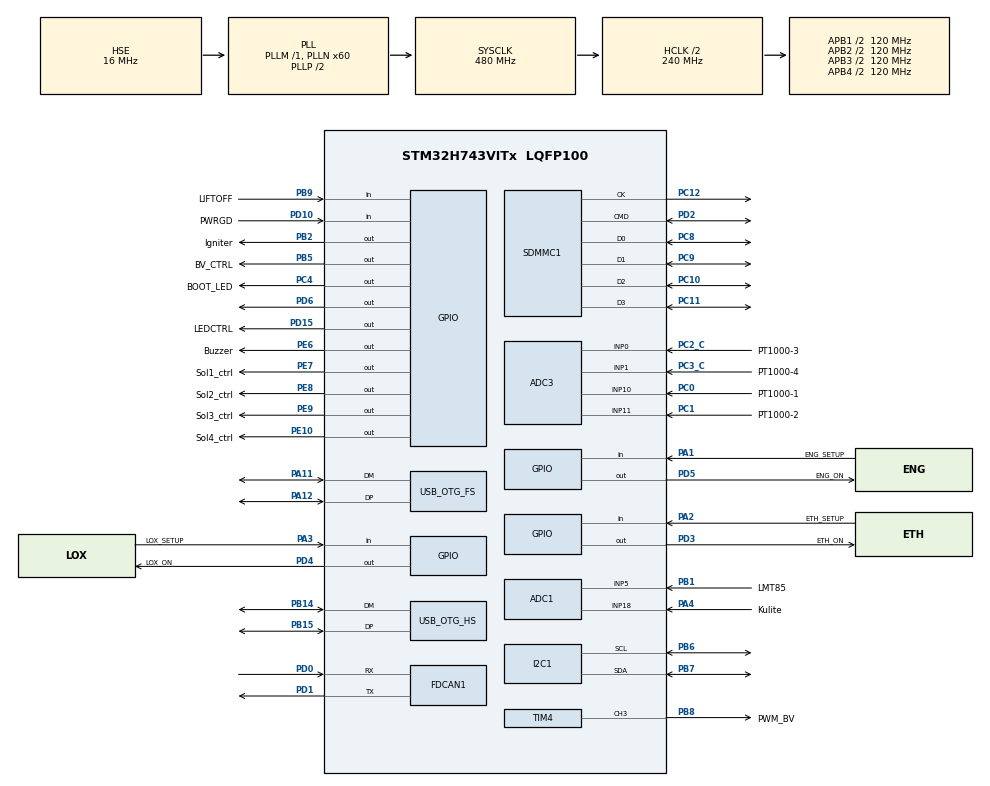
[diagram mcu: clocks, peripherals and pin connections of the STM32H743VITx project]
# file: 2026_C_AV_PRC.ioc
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ADC1.Channel-0\#ChannelRegularConversion=ADC_CHANNEL_5
ADC1.NbrOfConversionFlag=1
ADC1.OffsetNumber-0\#ChannelRegularConversion=ADC_OFFSET_NONE
ADC1.OffsetSignedSaturation-0\#ChannelRegularConversion=DISABLE
ADC1.Rank-0\#ChannelRegularConversion=1
ADC1.SamplingTime-0\#ChannelRegularConversion=ADC_SAMPLETIME_1CYCLE_5
ADC1.master=1
ADC3.Channel-0\#ChannelRegularConversion=ADC_CHANNEL_11
ADC3.NbrOfConversionFlag=1
ADC3.OffsetNumber-0\#ChannelRegularConversion=ADC_OFFSET_NONE
ADC3.OffsetSignedSaturation-0\#ChannelRegularConversion=DISABLE
ADC3.Rank-0\#ChannelRegularConversion=1
ADC3.SamplingTime-0\#ChannelRegularConversion=ADC_SAMPLETIME_1CYCLE_5
CORTEX_M7.default_mode_Activation=1
FDCAN1.AutoRetransmission=ENABLE
FDCAN1.CalculateBaudRateNominal=2000000
FDCAN1.CalculateTimeBitNominal=500
FDCAN1.CalculateTimeQuantumNominal=15.625
FDCAN1.NominalPrescaler=1
FDCAN1.NominalTimeSeg1=23
FDCAN1.NominalTimeSeg2=8
FDCAN1.RxFifo0ElmtsNbr=4
FDCAN1.RxFifo1ElmtSize=FDCAN_DATA_BYTES_8
FDCAN1.RxFifo1ElmtsNbr=4
FDCAN1.StdFiltersNbr=3
FDCAN1.TxBuffersNbr=0
FDCAN1.TxFifoQueueElmtsNbr=32
I2C1.Timing=0x307075B1
Mcu.Family=STM32H7
Mcu.Name=STM32H743VITx
Mcu.Package=LQFP100
NVIC.OTG_FS_IRQn=true\:0\:0\:false\:false\:true\:false\:true\:true
NVIC.OTG_HS_IRQn=true\:0\:0\:false\:false\:true\:false\:true\:true
NVIC.PriorityGroup=NVIC_PRIORITYGROUP_4
PA1.GPIO_Label=ENG_SETUP
PA1.Signal=GPIO_Input
PA11.Mode=Device_Only
PA11.Signal=USB_OTG_FS_DM
PA12.Mode=Device_Only
PA12.Signal=USB_OTG_FS_DP
PA13\ (JTMS/SWDIO).Mode=Trace_Asynchronous_SW
PA13\ (JTMS/SWDIO).Signal=DEBUG_JTMS-SWDIO
PA14\ (JTCK/SWCLK).Mode=Trace_Asynchronous_SW
PA14\ (JTCK/SWCLK).Signal=DEBUG_JTCK-SWCLK
PA2.GPIO_Label=ETH_SETUP
PA2.Signal=GPIO_Input
PA3.GPIO_Label=LOX_SETUP
PA3.Signal=GPIO_Input
PA4.GPIO_Label=Kulite
PA4.Signal=ADCx_INP18
PB1.GPIO_Label=LMT85
PB1.Signal=ADCx_INP5
PB14.Mode=Device_Only_FS
PB14.Signal=USB_OTG_HS_DM
PB15.Mode=Device_Only_FS
PB15.Signal=USB_OTG_HS_DP
PB2.GPIO_Label=Igniter
PB2.Signal=GPIO_Output
PB3\ (JTDO/TRACESWO).Mode=Trace_Asynchronous_SW
PB3\ (JTDO/TRACESWO).Signal=DEBUG_JTDO-SWO
PB5.GPIO_Label=BV_CTRL
PB5.Signal=GPIO_Output
PB6.Mode=I2C
PB6.Signal=I2C1_SCL
PB7.Mode=I2C
PB7.Signal=I2C1_SDA
PB8.GPIO_Label=PWM_BV
PB8.Signal=S_TIM4_CH3
PB9.GPIO_Label=LIFTOFF
PB9.Signal=GPIO_Input
PC0.GPIO_Label=PT1000-1
PC0.Signal=ADCx_INP10
PC1.GPIO_Label=PT1000-2
PC1.Signal=ADCx_INP11
PC10.Mode=SD_4_bits_Wide_bus
PC10.Signal=SDMMC1_D2
PC11.Mode=SD_4_bits_Wide_bus
PC11.Signal=SDMMC1_D3
PC12.Mode=SD_4_bits_Wide_bus
PC12.Signal=SDMMC1_CK
PC2_C.GPIO_Label=PT1000-3
PC2_C.Mode=IN0-Single-Ended
PC2_C.Signal=ADC3_INP0
PC3_C.GPIO_Label=PT1000-4
PC3_C.Mode=IN1-Single-Ended
PC3_C.Signal=ADC3_INP1
PC4.GPIO_Label=BOOT_LED
PC4.Signal=GPIO_Output
PC8.Mode=SD_4_bits_Wide_bus
PC8.Signal=SDMMC1_D0
PC9.Mode=SD_4_bits_Wide_bus
PC9.Signal=SDMMC1_D1
PD0.Mode=FDCAN_Activate
PD0.Signal=FDCAN1_RX
PD1.Mode=FDCAN_Activate
PD1.Signal=FDCAN1_TX
PD10.GPIO_Label=PWRGD
PD10.Signal=GPIO_Input
PD15.GPIO_Label=LEDCTRL
PD15.Signal=GPIO_Output
PD2.Mode=SD_4_bits_Wide_bus
PD2.Signal=SDMMC1_CMD
PD3.GPIO_Label=ETH_ON
PD3.Signal=GPIO_Output
PD4.GPIO_Label=LOX_ON
PD4.Signal=GPIO_Output
PD5.GPIO_Label=ENG_ON
PD5.Signal=GPIO_Output
PD6.PinState=GPIO_PIN_SET
PD6.Signal=GPIO_Output
PE10.GPIO_Label=Sol4_ctrl
PE10.Signal=GPIO_Output
PE6.GPIO_Label=Buzzer
PE6.Signal=GPIO_Output
PE7.GPIO_Label=Sol1_ctrl
PE7.Signal=GPIO_Output
PE8.GPIO_Label=Sol2_ctrl
PE8.Signal=GPIO_Output
PE9.GPIO_Label=Sol3_ctrl
PE9.Signal=GPIO_Output
ProjectManager.HeapSize=0x200
ProjectManager.StackSize=0x400
ProjectManager.TargetToolchain=STM32CubeIDE
RCC.ADCFreq_Value=80000000
RCC.APB1Freq_Value=120000000
RCC.APB2Freq_Value=120000000
RCC.APB3Freq_Value=120000000
RCC.APB4Freq_Value=120000000
RCC.CortexFreq_Value=480000000
RCC.D1PPRE=RCC_APB3_DIV2
RCC.D2PPRE1=RCC_APB1_DIV2
RCC.D2PPRE2=RCC_APB2_DIV2
RCC.D3PPRE=RCC_APB4_DIV2
RCC.DIVM1=1
RCC.DIVM2=1
RCC.DIVN1=60
RCC.DIVN2=10
RCC.DIVQ1=15
RCC.HCLKFreq_Value=240000000
RCC.HPRE=RCC_HCLK_DIV2
RCC.HSE_VALUE=16000000
RCC.HSIDiv=RCC_PLLSAIDIVR_4
RCC.PLL2FRACN=0
RCC.PLL3FRACN=0
RCC.PLLFRACN=0
RCC.SYSCLKFreq_VALUE=480000000
RCC.SYSCLKSource=RCC_SYSCLKSOURCE_PLLCLK
RCC.USBCLockSelection=RCC_USBCLKSOURCE_HSI48
RCC.USBFreq_Value=48000000
SDMMC1.ClockDiv=4
SH.ADCx_INP10.0=ADC3_INP10,IN10-Single-Ended
SH.ADCx_INP11.0=ADC3_INP11,IN11-Single-Ended
SH.ADCx_INP18.0=ADC1_INP18,IN18-Single-Ended
SH.ADCx_INP5.0=ADC1_INP5,IN5-Single-Ended
SH.S_TIM4_CH3.0=TIM4_CH3,PWM Generation3 CH3
TIM4.Channel-PWM\ Generation3\ CH3=TIM_CHANNEL_3
USB_DEVICE.CLASS_NAME_FS=DFU
USB_DEVICE.CLASS_NAME_HS=CDC
USB_DEVICE.VirtualMode-CDC_HS=Cdc
USB_DEVICE.VirtualMode-DFU_FS=Dfu
USB_DEVICE.VirtualModeFS=Dfu_FS
USB_DEVICE.VirtualModeHS=Cdc_HS
USB_OTG_FS.VirtualMode=Device_Only
USB_OTG_HS.VirtualMode-Device_Only_FS=Device_Only_FS
VP_MEMORYMAP_VS_MEMORYMAP.Mode=CurAppReg
VP_USB_DEVICE_VS_USB_DEVICE_CDC_HS.Mode=CDC_HS
VP_USB_DEVICE_VS_USB_DEVICE_DFU_FS.Mode=DFU_FS
board=custom

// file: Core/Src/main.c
/* USER CODE BEGIN Header */
/**
  ******************************************************************************
  * @file           : main.c
  * @brief          : Main program body
  ******************************************************************************
  * @attention
  *
  * Copyright (c) 2026 STMicroelectronics.
  * All rights reserved.
  *
  * This software is licensed under terms that can be found in the LICENSE file
  * in the root directory of this software component.
  * If no LICENSE file comes with this software, it is provided AS-IS.
  *
  ******************************************************************************
  */
/* USER CODE END Header */
#include "main.h"
#include "usb_device.h"

/* USER CODE BEGIN Includes */

#include "../../Drivers/FDC1004/FDC1004_manual_test.h"
#include "../../Drivers/PT1000/main_test_pt1000.h"
#include "../../Drivers/SensataPte7300/SensataPte7300HardwareTest.hpp"
#include "../../Drivers/KULITE_CTL190/kulite_manual_test.hpp"
#include "../../Drivers/LMT85/lmt85_manual_test.hpp"
#include "../../Drivers/Valve/valve_manual_test.hpp"
#include "../../Drivers/Plume/Tests/Hardware/plume_manual_test.h"
#include "../../Application/FlightControl/prc_fsm_c_api.h"
#include "../../Application/FlightControl/prc_can.hpp"
#include "../../Application/app_printf.h"
#include "../../Application/main_app.h"
#include "../../Drivers/Plume/sd_hardware_init.h"
#include "CAN.h"
#include "usbd_cdc_if.h"

/* USER CODE END Includes */

ADC_HandleTypeDef hadc1;
ADC_HandleTypeDef hadc3;

FDCAN_HandleTypeDef hfdcan1;

I2C_HandleTypeDef hi2c1;

SD_HandleTypeDef hsd1;

TIM_HandleTypeDef htim4;

void SystemClock_Config(void);
void PeriphCommonClock_Config(void);
static void MPU_Config(void);
static void MX_GPIO_Init(void);
static void MX_FDCAN1_Init(void);
static void MX_I2C1_Init(void);
static void MX_SDMMC1_SD_Init(void);
static void MX_TIM4_Init(void);
static void MX_ADC3_Init(void);
static void MX_ADC1_Init(void);

/* USER CODE BEGIN 0 */

int _write(int file, char *ptr, int len) {
    // Wait until USB is ready, but never wedge: if the CDC endpoint stays
    // busy (host not draining, missed completion), drop the output instead
    // of spinning forever.

    if (app_printf_is_usb_enabled()) {
      uint32_t start = HAL_GetTick();
      while (CDC_Transmit_HS((uint8_t*)ptr, len) == USBD_BUSY) {
          if (HAL_GetTick() - start > 100) {
              break;
          }
      }
    }

    if (app_printf_is_can_enabled()) {
      // Relay the same bytes over CAN to FC, tagged with this board's role
      // (see Application/FlightControl/prc_can.cpp). Local VCP output above
      // is unaffected either way -- this is purely additive.
      Prc_Log_Forward(&hfdcan1, (const uint8_t*)ptr, (uint32_t)len);
    }

    return len;
}

/* Plain I2C bus scanner, independent of any mux/channel selection -- just
 * sweeps every 7-bit address on the given bus and prints whatever ACKs.
 * Standard scan range 0x03-0x77 (0x00-0x07 and 0x78-0x7F are reserved).
 * Runs forever, one full sweep per iteration, 500 ms between sweeps. */
static void i2c_bus_scan(I2C_HandleTypeDef *hi2c)
{
    app_printf("=== I2C bus scan START (addr range 0x03-0x77) ===\r\n");
    while (1)
    {
        uint8_t foundCount = 0;
        for (uint8_t addr = 0x03; addr <= 0x77; addr++)
        {
            if (HAL_I2C_IsDeviceReady(hi2c, (uint16_t)(addr << 1), 3, 10) == HAL_OK)
            {
                app_printf("[I2C] found device at 0x%02X\r\n", addr);
                foundCount++;
            }
        }
        if (foundCount == 0)
        {
            app_printf("[I2C] no devices found\r\n");
        }
        else
        {
            app_printf("[I2C] scan done, %u device(s) found\r\n", foundCount);
        }
        HAL_Delay(500);
    }
}

/* STM32H743's internal temperature sensor: only available on ADC3 (already
 * used for PT1000), channel ADC_CHANNEL_TEMPSENSOR. Factory calibration
 * words TS_CAL1 (30 C)/TS_CAL2 (110 C), both @ VDDA=3.3V, live at fixed
 * addresses per the datasheet -- this CMSIS package doesn't define the
 * usual TEMPSENSOR_CAL1_ADDR/TEMPSENSOR_CAL2_ADDR macros, so they're
 * hardcoded here (matches UID_BASE 0x1FF1E800 + 0x20 / + 0x40). */
#define TEMPSENSOR_CAL1_ADDR ((uint16_t*)(0x1FF1E820UL))
#define TEMPSENSOR_CAL2_ADDR ((uint16_t*)(0x1FF1E840UL))
#define TEMPSENSOR_CAL1_TEMP (30)
#define TEMPSENSOR_CAL2_TEMP (110)

/* Reads and prints the MCU's internal die temperature via ADC3. Assumes
 * VDDA ~= 3.3V (the calibration reference voltage) -- if VDDA is known to
 * differ meaningfully on this board, scale raw16 by (VDDA_mV/3300) before
 * the calibration formula. */
static void print_mcu_temperature(void)
{
    ADC_ChannelConfTypeDef sConfig = {0};
    sConfig.Channel      = ADC_CHANNEL_TEMPSENSOR;
    sConfig.Rank         = ADC_REGULAR_RANK_1;
    sConfig.SamplingTime = ADC_SAMPLETIME_810CYCLES_5; // temp sensor needs a long sample time
    sConfig.SingleDiff   = ADC_SINGLE_ENDED;
    sConfig.OffsetNumber = ADC_OFFSET_NONE;
    sConfig.Offset       = 0;
    sConfig.OffsetSignedSaturation = DISABLE;

    if (HAL_ADC_ConfigChannel(&hadc3, &sConfig) != HAL_OK)
    {
        app_printf("[TEMP] ConfigChannel failed\r\n");
        return;
    }

    if (HAL_ADC_Start(&hadc3) != HAL_OK)
    {
        app_printf("[TEMP] Start failed\r\n");
        return;
    }

    if (HAL_ADC_PollForConversion(&hadc3, 100) != HAL_OK)
    {
        HAL_ADC_Stop(&hadc3);
        app_printf("[TEMP] PollForConversion failed\r\n");
        return;
    }

    uint32_t raw16 = HAL_ADC_GetValue(&hadc3); // hadc3 is 16-bit resolution, matches TS_CAL width
    HAL_ADC_Stop(&hadc3);

    int32_t temp_c = (((int32_t)raw16 - (int32_t)(*TEMPSENSOR_CAL1_ADDR))
                       * (TEMPSENSOR_CAL2_TEMP - TEMPSENSOR_CAL1_TEMP))
                      / ((int32_t)(*TEMPSENSOR_CAL2_ADDR) - (int32_t)(*TEMPSENSOR_CAL1_ADDR))
                      + TEMPSENSOR_CAL1_TEMP;

    app_printf("[TEMP] MCU internal temperature: %ld C (raw=%lu)\r\n",
           (long)temp_c, (unsigned long)raw16);
}

/* USER CODE END 0 */

int main(void)
{

  /* USER CODE BEGIN 1 */
	// HAL_GPIO_TogglePin(GPIOC, GPIO_PIN_4);

  /* USER CODE END 1 */

  /* MPU Configuration--------------------------------------------------------*/
  MPU_Config();

  /* MCU Configuration--------------------------------------------------------*/

  SCB_EnableICache();
  SCB_EnableDCache();

  /* Reset of all peripherals, Initializes the Flash interface and the Systick. */
  HAL_Init();

  /* Configure the system clock */
  SystemClock_Config();

  /* Configure the peripherals common clocks */
  PeriphCommonClock_Config();

  /* Initialize all configured peripherals */
  MX_GPIO_Init();
  MX_FDCAN1_Init();
  MX_I2C1_Init();
  MX_SDMMC1_SD_Init();
  MX_TIM4_Init();
  MX_USB_DEVICE_Init();
  MX_ADC3_Init();
  MX_ADC1_Init();
  /* USER CODE BEGIN 2 */

  //manual_test_pt1000();  /* loops forever -- never returns, everything below this line won't run while active */

  //run_pte7300_i2c_scanner();
  //i2c_bus_scan(&hi2c1);
  //run_pte7300_channel0_scope_probe();
  //manual_test_ctl190();  /* loops forever -- never returns, everything below this line won't run while active */
  //manual_test_lmt85();  /* loops forever -- never returns, everything below this line won't run while active */
  //Valve_ManualTest();
  HAL_GPIO_TogglePin(GPIOC, GPIO_PIN_4);

  // reset mux
  HAL_GPIO_WritePin(GPIOD, GPIO_PIN_6, GPIO_PIN_RESET);
  HAL_Delay(1000);
  HAL_GPIO_WritePin(GPIOD, GPIO_PIN_6, GPIO_PIN_SET);

  main_init();
  // i2c_bus_scan(&hi2c1);

  /* Reset cause. Printed here (after Prc_Fsm_Init()'s buzzer delays), not
   * right after MX_USB_DEVICE_Init(), because USB CDC hasn't finished
   * enumerating with the host that early -- _write() silently drops
   * anything sent before the host's endpoint is ready. RCC->RSR itself
   * isn't touched by anything in between, so reading it late is safe;
   * RMVF is never written, so flags accumulate across resets until an
   * actual power-on reset clears them. */
  // app_printf("[RESET] RCC->RSR=0x%08lX%s%s%s%s%s%s%s%s%s\r\n",
  //        (unsigned long)RCC->RSR,
  //        (RCC->RSR & RCC_RSR_PORRSTF)   ? " POR"   : "",
  //        (RCC->RSR & RCC_RSR_PINRSTF)   ? " PIN"   : "",
  //        (RCC->RSR & RCC_RSR_BORRSTF)   ? " BOR"   : "",
  //        (RCC->RSR & RCC_RSR_SFTRSTF)   ? " SFT"   : "",
  //        (RCC->RSR & RCC_RSR_IWDG1RSTF) ? " IWDG1" : "",
  //        (RCC->RSR & RCC_RSR_WWDG1RSTF) ? " WWDG1" : "",
  //        (RCC->RSR & RCC_RSR_LPWRRSTF)  ? " LPWR"  : "",
  //        (RCC->RSR & RCC_RSR_D1RSTF)    ? " D1"    : "",
  //        (RCC->RSR & RCC_RSR_D2RSTF)    ? " D2"    : "");

  /* USER CODE END 2 */

  /* Infinite loop */
  /* USER CODE BEGIN WHILE */

  HAL_Delay(1000);

  static uint32_t lastPeriodicTick = 0;
  static uint32_t lastTelemetryTick = 0;
  while (1)
  {
    /* USER CODE END WHILE */

    /* USER CODE BEGIN 3 */
	  main_tick();
	  Prc_Fsm_Tick();

	  /*  Real CAN command decode, per Core/Inc/CAN.h's dictionary. Drains
	   *  the FIFO every iteration, unthrottled -- no HAL_Delay()/throttling
	   *  between reads, same reasoning as the LED slow-path split below (a
	   *  throttled decode would leave commands sitting in the FIFO for up
	   *  to 1s). See Application/FlightControl/prc_can.cpp for the actual
	   *  per-message decode/validation. */
	  if (HAL_FDCAN_GetRxFifoFillLevel(&hfdcan1, FDCAN_RX_FIFO0) > 0)
	  {
	    FDCAN_RxHeaderTypeDef rxHeader;
	    uint8_t rxData[8] = {0};
	    if (HAL_FDCAN_GetRxMessage(&hfdcan1, FDCAN_RX_FIFO0, &rxHeader, rxData) == HAL_OK)
	    {
	      /* FDCAN_DLC_BYTES_0..8 (the only codes possible here -- classic
	       * frames, RxFifo0ElmtSize = FDCAN_DATA_BYTES_8) are numerically
	       * equal to the byte count, so DataLength can be used directly;
	       * no HAL conversion macro exists for it in this HAL version. */
	      Prc_Can_ProcessRxMessage(rxHeader.Identifier, rxData, rxHeader.DataLength);
	    }
	  }

	  /*  FIFO1 holds only the other PRC boards' heartbeats (filter index 2,
	   *  see Prc_Can_ConfigNodeFilter). Same polling and decode as FIFO0, but
	   *  drained completely every iteration: each frame takes a few us. */
	  while (HAL_FDCAN_GetRxFifoFillLevel(&hfdcan1, FDCAN_RX_FIFO1) > 0)
	  {
	    FDCAN_RxHeaderTypeDef rxHeader;
	    uint8_t rxData[8] = {0};
	    if (HAL_FDCAN_GetRxMessage(&hfdcan1, FDCAN_RX_FIFO1, &rxHeader, rxData) != HAL_OK)
	    {
	      break;
	    }
	    Prc_Can_ProcessRxMessage(rxHeader.Identifier, rxData, rxHeader.DataLength);
	  }

	  /*  FIFO0 full / FIFO1 lost counters, printed when they grow (1 Hz max). */
	  Prc_Can_CheckRxFifos(&hfdcan1);

	  if (HAL_GetTick() - lastTelemetryTick >= 50)
	  {
	    lastTelemetryTick = HAL_GetTick();
	    Prc_Can_SendTelemetry(&hfdcan1);
	  }

	  // Slow path: LED blink + sensor print, throttled to a human-readable
	  // interval via HAL_GetTick() instead of a blocking HAL_Delay(), which
	  // would otherwise stall CAN RX (above) for the same duration.
	  if (HAL_GetTick() - lastPeriodicTick >= 1000)
	  {
	    lastPeriodicTick = HAL_GetTick();

	    // Blink each "_ON" indicator LED only while its matching setup jumper
	    // reads active. Assumed active-high (jumper pulls the input to 3V3) --
	    // if the LEDs never light, the jumpers are probably wired active-low:
	    // flip these to "== GPIO_PIN_RESET".
	    if (HAL_GPIO_ReadPin(ENG_SETUP_GPIO_Port, ENG_SETUP_Pin) == GPIO_PIN_SET) {
	      HAL_GPIO_TogglePin(ENG_ON_GPIO_Port, ENG_ON_Pin);
	    } else {
	      HAL_GPIO_WritePin(ENG_ON_GPIO_Port, ENG_ON_Pin, GPIO_PIN_RESET);
	    }
	    if (HAL_GPIO_ReadPin(LOX_SETUP_GPIO_Port, LOX_SETUP_Pin) == GPIO_PIN_SET) {
	      HAL_GPIO_TogglePin(LOX_ON_GPIO_Port, LOX_ON_Pin);
	    } else {
	      HAL_GPIO_WritePin(LOX_ON_GPIO_Port, LOX_ON_Pin, GPIO_PIN_RESET);
	    }
	    if (HAL_GPIO_ReadPin(ETH_SETUP_GPIO_Port, ETH_SETUP_Pin) == GPIO_PIN_SET) {
	      HAL_GPIO_TogglePin(ETH_ON_GPIO_Port, ETH_ON_Pin);
	    } else {
	      HAL_GPIO_WritePin(ETH_ON_GPIO_Port, ETH_ON_Pin, GPIO_PIN_RESET);
	    }

	    //run_pte7300_hardware_test();
	    //pte7300_print_data();
	    //FDC1004_ManualTest(&hi2c1);
	    //print_mcu_temperature();

	    //Valve_ManualTest();    /* TODO: verify Sol1-4/BV_CTRL wiring & NC/NO assumptions before running, see Drivers/Valve/Impl/ValveList.cpp */
	  }
  }
  /* USER CODE END 3 */
}

void SystemClock_Config(void)
{
  RCC_OscInitTypeDef RCC_OscInitStruct = {0};
  RCC_ClkInitTypeDef RCC_ClkInitStruct = {0};

  /** Supply configuration update enable
  */
  HAL_PWREx_ConfigSupply(PWR_LDO_SUPPLY);

  /** Configure the main internal regulator output voltage
  */
  __HAL_PWR_VOLTAGESCALING_CONFIG(PWR_REGULATOR_VOLTAGE_SCALE0);

  while(!__HAL_PWR_GET_FLAG(PWR_FLAG_VOSRDY)) {}

  /** Initializes the RCC Oscillators according to the specified parameters
  * in the RCC_OscInitTypeDef structure.
  */
#ifndef USE_INTERNAL_CLOCK
  RCC_OscInitStruct.OscillatorType = RCC_OSCILLATORTYPE_HSI48|RCC_OSCILLATORTYPE_HSE;
  RCC_OscInitStruct.HSEState = RCC_HSE_ON;
  RCC_OscInitStruct.HSI48State = RCC_HSI48_ON;
  RCC_OscInitStruct.PLL.PLLState = RCC_PLL_ON;
  RCC_OscInitStruct.PLL.PLLSource = RCC_PLLSOURCE_HSE;
#else
  RCC_OscInitStruct.OscillatorType = RCC_OSCILLATORTYPE_HSI48|RCC_OSCILLATORTYPE_HSI;
  RCC_OscInitStruct.HSIState = RCC_HSI_DIV4;
  RCC_OscInitStruct.HSICalibrationValue = RCC_HSICALIBRATION_DEFAULT;
  RCC_OscInitStruct.HSI48State = RCC_HSI48_ON;
  RCC_OscInitStruct.PLL.PLLState = RCC_PLL_ON;
  RCC_OscInitStruct.PLL.PLLSource = RCC_PLLSOURCE_HSI;
#endif
  RCC_OscInitStruct.PLL.PLLM = 1;
  RCC_OscInitStruct.PLL.PLLN = 60;
  RCC_OscInitStruct.PLL.PLLP = 2;
  RCC_OscInitStruct.PLL.PLLQ = 15;
  RCC_OscInitStruct.PLL.PLLR = 2;
  RCC_OscInitStruct.PLL.PLLRGE = RCC_PLL1VCIRANGE_3;
  RCC_OscInitStruct.PLL.PLLVCOSEL = RCC_PLL1VCOWIDE;
  RCC_OscInitStruct.PLL.PLLFRACN = 0;
  if (HAL_RCC_OscConfig(&RCC_OscInitStruct) != HAL_OK)
  {
    Error_Handler();
  }

  /** Initializes the CPU, AHB and APB buses clocks
  */
  RCC_ClkInitStruct.ClockType = RCC_CLOCKTYPE_HCLK|RCC_CLOCKTYPE_SYSCLK
                              |RCC_CLOCKTYPE_PCLK1|RCC_CLOCKTYPE_PCLK2
                              |RCC_CLOCKTYPE_D3PCLK1|RCC_CLOCKTYPE_D1PCLK1;
  RCC_ClkInitStruct.SYSCLKSource = RCC_SYSCLKSOURCE_PLLCLK;
  RCC_ClkInitStruct.SYSCLKDivider = RCC_SYSCLK_DIV1;
  RCC_ClkInitStruct.AHBCLKDivider = RCC_HCLK_DIV2;
  RCC_ClkInitStruct.APB3CLKDivider = RCC_APB3_DIV2;
  RCC_ClkInitStruct.APB1CLKDivider = RCC_APB1_DIV2;
  RCC_ClkInitStruct.APB2CLKDivider = RCC_APB2_DIV2;
  RCC_ClkInitStruct.APB4CLKDivider = RCC_APB4_DIV2;

  if (HAL_RCC_ClockConfig(&RCC_ClkInitStruct, FLASH_LATENCY_4) != HAL_OK)
  {
    Error_Handler();
  }
}

void PeriphCommonClock_Config(void)
{
  RCC_PeriphCLKInitTypeDef PeriphClkInitStruct = {0};

  /** Initializes the peripherals clock
  */
  PeriphClkInitStruct.PeriphClockSelection = RCC_PERIPHCLK_ADC;
  PeriphClkInitStruct.PLL2.PLL2M = 1;
  PeriphClkInitStruct.PLL2.PLL2N = 10;
  PeriphClkInitStruct.PLL2.PLL2P = 2;
  PeriphClkInitStruct.PLL2.PLL2Q = 2;
  PeriphClkInitStruct.PLL2.PLL2R = 2;
  PeriphClkInitStruct.PLL2.PLL2RGE = RCC_PLL2VCIRANGE_3;
  PeriphClkInitStruct.PLL2.PLL2VCOSEL = RCC_PLL2VCOMEDIUM;
  PeriphClkInitStruct.PLL2.PLL2FRACN = 0;
  PeriphClkInitStruct.AdcClockSelection = RCC_ADCCLKSOURCE_PLL2;
  if (HAL_RCCEx_PeriphCLKConfig(&PeriphClkInitStruct) != HAL_OK)
  {
    Error_Handler();
  }
}

static void MX_ADC1_Init(void)
{

  ADC_MultiModeTypeDef multimode = {0};
  ADC_ChannelConfTypeDef sConfig = {0};

  /** Common config
  */
  hadc1.Instance = ADC1;
  hadc1.Init.ClockPrescaler = ADC_CLOCK_ASYNC_DIV1;
  hadc1.Init.Resolution = ADC_RESOLUTION_16B;
  hadc1.Init.ScanConvMode = ADC_SCAN_DISABLE;
  hadc1.Init.EOCSelection = ADC_EOC_SINGLE_CONV;
  hadc1.Init.LowPowerAutoWait = DISABLE;
  hadc1.Init.ContinuousConvMode = DISABLE;
  hadc1.Init.NbrOfConversion = 1;
  hadc1.Init.DiscontinuousConvMode = DISABLE;
  hadc1.Init.ExternalTrigConv = ADC_SOFTWARE_START;
  hadc1.Init.ExternalTrigConvEdge = ADC_EXTERNALTRIGCONVEDGE_NONE;
  hadc1.Init.ConversionDataManagement = ADC_CONVERSIONDATA_DR;
  hadc1.Init.Overrun = ADC_OVR_DATA_PRESERVED;
  hadc1.Init.LeftBitShift = ADC_LEFTBITSHIFT_NONE;
  hadc1.Init.OversamplingMode = DISABLE;
  hadc1.Init.Oversampling.Ratio = 1;
  if (HAL_ADC_Init(&hadc1) != HAL_OK)
  {
    Error_Handler();
  }

  /** Configure the ADC multi-mode
  */
  multimode.Mode = ADC_MODE_INDEPENDENT;
  if (HAL_ADCEx_MultiModeConfigChannel(&hadc1, &multimode) != HAL_OK)
  {
    Error_Handler();
  }

  /** Configure Regular Channel
  */
  sConfig.Channel = ADC_CHANNEL_5;
  sConfig.Rank = ADC_REGULAR_RANK_1;
  sConfig.SamplingTime = ADC_SAMPLETIME_1CYCLE_5;
  sConfig.SingleDiff = ADC_SINGLE_ENDED;
  sConfig.OffsetNumber = ADC_OFFSET_NONE;
  sConfig.Offset = 0;
  sConfig.OffsetSignedSaturation = DISABLE;
  if (HAL_ADC_ConfigChannel(&hadc1, &sConfig) != HAL_OK)
  {
    Error_Handler();
  }

}

static void MX_ADC3_Init(void)
{

  ADC_ChannelConfTypeDef sConfig = {0};

  /** Common config
  */
  hadc3.Instance = ADC3;
  hadc3.Init.Resolution = ADC_RESOLUTION_16B;
  hadc3.Init.ScanConvMode = ADC_SCAN_DISABLE;
  hadc3.Init.EOCSelection = ADC_EOC_SINGLE_CONV;
  hadc3.Init.LowPowerAutoWait = DISABLE;
  hadc3.Init.ContinuousConvMode = DISABLE;
  hadc3.Init.NbrOfConversion = 1;
  hadc3.Init.DiscontinuousConvMode = DISABLE;
  hadc3.Init.ExternalTrigConv = ADC_SOFTWARE_START;
  hadc3.Init.ExternalTrigConvEdge = ADC_EXTERNALTRIGCONVEDGE_NONE;
  hadc3.Init.ConversionDataManagement = ADC_CONVERSIONDATA_DR;
  hadc3.Init.Overrun = ADC_OVR_DATA_PRESERVED;
  hadc3.Init.LeftBitShift = ADC_LEFTBITSHIFT_NONE;
  hadc3.Init.OversamplingMode = DISABLE;
  hadc3.Init.Oversampling.Ratio = 1;
  if (HAL_ADC_Init(&hadc3) != HAL_OK)
  {
    Error_Handler();
  }

  /** Configure Regular Channel
  */
  sConfig.Channel = ADC_CHANNEL_11;
  sConfig.Rank = ADC_REGULAR_RANK_1;
  sConfig.SamplingTime = ADC_SAMPLETIME_1CYCLE_5;
  sConfig.SingleDiff = ADC_SINGLE_ENDED;
  sConfig.OffsetNumber = ADC_OFFSET_NONE;
  sConfig.Offset = 0;
  sConfig.OffsetSignedSaturation = DISABLE;
  if (HAL_ADC_ConfigChannel(&hadc3, &sConfig) != HAL_OK)
  {
    Error_Handler();
  }

}

static void MX_FDCAN1_Init(void)
{

  hfdcan1.Instance = FDCAN1;
  hfdcan1.Init.FrameFormat = FDCAN_FRAME_CLASSIC;
  hfdcan1.Init.Mode = FDCAN_MODE_NORMAL;
  hfdcan1.Init.AutoRetransmission = ENABLE;
  hfdcan1.Init.TransmitPause = DISABLE;
  hfdcan1.Init.ProtocolException = DISABLE;
  hfdcan1.Init.NominalPrescaler = 1;
  hfdcan1.Init.NominalSyncJumpWidth = 1;
  hfdcan1.Init.NominalTimeSeg1 = 23;
  hfdcan1.Init.NominalTimeSeg2 = 8;
  hfdcan1.Init.DataPrescaler = 1;
  hfdcan1.Init.DataSyncJumpWidth = 1;
  hfdcan1.Init.DataTimeSeg1 = 1;
  hfdcan1.Init.DataTimeSeg2 = 1;
  hfdcan1.Init.MessageRAMOffset = 0;
  hfdcan1.Init.StdFiltersNbr = 3;
  hfdcan1.Init.ExtFiltersNbr = 0;
  hfdcan1.Init.RxFifo0ElmtsNbr = 4;
  hfdcan1.Init.RxFifo0ElmtSize = FDCAN_DATA_BYTES_8;
  hfdcan1.Init.RxFifo1ElmtsNbr = 4;
  hfdcan1.Init.RxFifo1ElmtSize = FDCAN_DATA_BYTES_8;
  hfdcan1.Init.RxBuffersNbr = 0;
  hfdcan1.Init.RxBufferSize = FDCAN_DATA_BYTES_8;
  hfdcan1.Init.TxEventsNbr = 0;
  hfdcan1.Init.TxBuffersNbr = 0;
  hfdcan1.Init.TxFifoQueueElmtsNbr = 32;
  hfdcan1.Init.TxFifoQueueMode = FDCAN_TX_FIFO_OPERATION;
  hfdcan1.Init.TxElmtSize = FDCAN_DATA_BYTES_8;
  if (HAL_FDCAN_Init(&hfdcan1) != HAL_OK)
  {
    Error_Handler();
  }
  /* USER CODE BEGIN FDCAN1_Init 2 */

  /* Accepts any message addressed to CAN_NODE_FC (node nibble only masked
   * -- priority/index free), per Core/Inc/CAN.h -- catches
   * CANID_BROADCAST_ABORT (0x000), CANID_TIME_SYNC (0x500), and any future
   * FC-broadcast message without needing a new filter added here. Index 1
   * (this board's own node) and index 2 (the other PRC boards' heartbeats)
   * are configured later, once role detection has run -- see
   * Prc_Can_ConfigNodeFilter() in USER CODE 2. StdFiltersNbr above must
   * stay greater than the highest index used (2).
   *
   * Rx FIFOs: indexes 0 and 1 (FC traffic and this board's own node:
   * commands, config, FC heartbeat) go to FIFO0, 4 elements, overwrite mode
   * (set below). Index 2 (the other PRC boards' heartbeats) goes to FIFO1,
   * 4 elements, left in the default blocking mode, so heartbeats can never
   * push a command out of FIFO0. Blocking mode also makes the FIFO1
   * "message lost" flag work (overwrite mode never sets it); FIFO0 losses
   * are watched through its "full" flag instead, see
   * Prc_Can_CheckRxFifos(). Message RAM used: 3 filters + 2 x 4 Rx
   * elements + 32 Tx elements = 3 + 32 + 128 = 163 of the 2560 words. */
  FDCAN_FilterTypeDef canFilter;
  canFilter.IdType       = FDCAN_STANDARD_ID;
  canFilter.FilterIndex  = 0;
  canFilter.FilterType   = FDCAN_FILTER_MASK;
  canFilter.FilterConfig = FDCAN_FILTER_TO_RXFIFO0;
  canFilter.FilterID1    = (CAN_NODE_FC << 4);
  canFilter.FilterID2    = 0x0F0; /* mask: only the node nibble must match */
  if (HAL_FDCAN_ConfigFilter(&hfdcan1, &canFilter) != HAL_OK)
  {
    Error_Handler();
  }

  if (HAL_FDCAN_ConfigGlobalFilter(&hfdcan1, FDCAN_REJECT, FDCAN_REJECT, FDCAN_FILTER_REMOTE, FDCAN_FILTER_REMOTE) != HAL_OK)
  {
    Error_Handler();
  }
  if (HAL_FDCAN_ConfigRxFifoOverwrite(&hfdcan1, FDCAN_RX_FIFO0, FDCAN_RX_FIFO_OVERWRITE) != HAL_OK)
  {
    Error_Handler();
  }
  if (HAL_FDCAN_Start(&hfdcan1) != HAL_OK)
  {
    Error_Handler();
  }

  /* USER CODE END FDCAN1_Init 2 */

}

static void MX_I2C1_Init(void)
{

  hi2c1.Instance = I2C1;
  hi2c1.Init.Timing = 0x307075B1;
  hi2c1.Init.OwnAddress1 = 0;
  hi2c1.Init.AddressingMode = I2C_ADDRESSINGMODE_7BIT;
  hi2c1.Init.DualAddressMode = I2C_DUALADDRESS_DISABLE;
  hi2c1.Init.OwnAddress2 = 0;
  hi2c1.Init.OwnAddress2Masks = I2C_OA2_NOMASK;
  hi2c1.Init.GeneralCallMode = I2C_GENERALCALL_DISABLE;
  hi2c1.Init.NoStretchMode = I2C_NOSTRETCH_DISABLE;
  if (HAL_I2C_Init(&hi2c1) != HAL_OK)
  {
    Error_Handler();
  }

  /** Configure Analogue filter
  */
  if (HAL_I2CEx_ConfigAnalogFilter(&hi2c1, I2C_ANALOGFILTER_ENABLE) != HAL_OK)
  {
    Error_Handler();
  }

  /** Configure Digital filter
  */
  if (HAL_I2CEx_ConfigDigitalFilter(&hi2c1, 0) != HAL_OK)
  {
    Error_Handler();
  }

}

static void MX_SDMMC1_SD_Init(void)
{

  /* USER CODE BEGIN SDMMC1_Init 0 */
  sd_pre_init();
  /* USER CODE END SDMMC1_Init 0 */

  hsd1.Instance = SDMMC1;
  hsd1.Init.ClockEdge = SDMMC_CLOCK_EDGE_RISING;
  hsd1.Init.ClockPowerSave = SDMMC_CLOCK_POWER_SAVE_DISABLE;
  hsd1.Init.BusWide = SDMMC_BUS_WIDE_4B;
  hsd1.Init.HardwareFlowControl = SDMMC_HARDWARE_FLOW_CONTROL_DISABLE;
  hsd1.Init.ClockDiv = 4;
  if (HAL_SD_Init(&hsd1) != HAL_OK)
  {
    Error_Handler();
  }
  /* USER CODE BEGIN SDMMC1_Init 2 */
  sd_post_init(&hsd1);
  /* USER CODE END SDMMC1_Init 2 */

}

static void MX_TIM4_Init(void)
{

  TIM_MasterConfigTypeDef sMasterConfig = {0};
  TIM_OC_InitTypeDef sConfigOC = {0};

#ifndef USE_INTERNAL_CLOCK
  uint32_t timclk = HAL_RCC_GetPCLK1Freq();
   // If APB1 prescaler != DIV1, timer clock is 2x pclk1 — check your clock config

   if (HAL_RCC_GetPCLK1Freq() != HAL_RCC_GetHCLKFreq()) timclk *= 2;
  htim4.Instance = TIM4;
  htim4.Init.Prescaler = (timclk / 1000000U) - 1U; // → 1 MHz tick
  htim4.Init.CounterMode = TIM_COUNTERMODE_UP;
  htim4.Init.Period = 19999; // 20 ms frame (50 Hz) for standard RC servo PWM
#else
  htim4.Instance = TIM4;
  htim4.Init.Prescaler = 0;
  htim4.Init.CounterMode = TIM_COUNTERMODE_UP;
  htim4.Init.Period = 65535;
#endif
  htim4.Init.ClockDivision = TIM_CLOCKDIVISION_DIV1;
  htim4.Init.AutoReloadPreload = TIM_AUTORELOAD_PRELOAD_DISABLE;
  if (HAL_TIM_PWM_Init(&htim4) != HAL_OK)
  {
    Error_Handler();
  }
  sMasterConfig.MasterOutputTrigger = TIM_TRGO_RESET;
  sMasterConfig.MasterSlaveMode = TIM_MASTERSLAVEMODE_DISABLE;
  if (HAL_TIMEx_MasterConfigSynchronization(&htim4, &sMasterConfig) != HAL_OK)
  {
    Error_Handler();
  }
  sConfigOC.OCMode = TIM_OCMODE_PWM1;
  sConfigOC.Pulse = 0;
  sConfigOC.OCPolarity = TIM_OCPOLARITY_HIGH;
  sConfigOC.OCFastMode = TIM_OCFAST_DISABLE;
  if (HAL_TIM_PWM_ConfigChannel(&htim4, &sConfigOC, TIM_CHANNEL_3) != HAL_OK)
  {
    Error_Handler();
  }
  HAL_TIM_MspPostInit(&htim4);

}

static void MX_GPIO_Init(void)
{
  GPIO_InitTypeDef GPIO_InitStruct = {0};

  /* GPIO Ports Clock Enable */
  __HAL_RCC_GPIOE_CLK_ENABLE();
  __HAL_RCC_GPIOH_CLK_ENABLE();
  __HAL_RCC_GPIOC_CLK_ENABLE();
  __HAL_RCC_GPIOA_CLK_ENABLE();
  __HAL_RCC_GPIOB_CLK_ENABLE();
  __HAL_RCC_GPIOD_CLK_ENABLE();

  /*Configure GPIO pin Output Level */
  HAL_GPIO_WritePin(GPIOE, Buzzer_Pin|Sol1_ctrl_Pin|Sol2_ctrl_Pin|Sol3_ctrl_Pin
                          |Sol4_ctrl_Pin, GPIO_PIN_RESET);

  /*Configure GPIO pin Output Level */
  HAL_GPIO_WritePin(BOOT_LED_GPIO_Port, BOOT_LED_Pin, GPIO_PIN_RESET);

  /*Configure GPIO pin Output Level */
  HAL_GPIO_WritePin(GPIOB, Igniter_Pin|BV_CTRL_Pin, GPIO_PIN_RESET);

  /*Configure GPIO pin Output Level */
  HAL_GPIO_WritePin(GPIOD, LEDCTRL_Pin|ETH_ON_Pin|LOX_ON_Pin|ENG_ON_Pin, GPIO_PIN_RESET);

  /*Configure GPIO pin Output Level */
  HAL_GPIO_WritePin(GPIOD, GPIO_PIN_6, GPIO_PIN_SET);

  /*Configure GPIO pins : Buzzer_Pin Sol1_ctrl_Pin Sol2_ctrl_Pin Sol3_ctrl_Pin
                           Sol4_ctrl_Pin */
  GPIO_InitStruct.Pin = Buzzer_Pin|Sol1_ctrl_Pin|Sol2_ctrl_Pin|Sol3_ctrl_Pin
                          |Sol4_ctrl_Pin;
  GPIO_InitStruct.Mode = GPIO_MODE_OUTPUT_PP;
  GPIO_InitStruct.Pull = GPIO_NOPULL;
  GPIO_InitStruct.Speed = GPIO_SPEED_FREQ_LOW;
  HAL_GPIO_Init(GPIOE, &GPIO_InitStruct);

  /*Configure GPIO pins : ENG_SETUP_Pin ETH_SETUP_Pin LOX_SETUP_Pin */
  GPIO_InitStruct.Pin = ENG_SETUP_Pin|ETH_SETUP_Pin|LOX_SETUP_Pin;
  GPIO_InitStruct.Mode = GPIO_MODE_INPUT;
  GPIO_InitStruct.Pull = GPIO_NOPULL;
  HAL_GPIO_Init(GPIOA, &GPIO_InitStruct);

  /*Configure GPIO pin : BOOT_LED_Pin */
  GPIO_InitStruct.Pin = BOOT_LED_Pin;
  GPIO_InitStruct.Mode = GPIO_MODE_OUTPUT_PP;
  GPIO_InitStruct.Pull = GPIO_NOPULL;
  GPIO_InitStruct.Speed = GPIO_SPEED_FREQ_LOW;
  HAL_GPIO_Init(BOOT_LED_GPIO_Port, &GPIO_InitStruct);

  /*Configure GPIO pins : Igniter_Pin BV_CTRL_Pin */
  GPIO_InitStruct.Pin = Igniter_Pin|BV_CTRL_Pin;
  GPIO_InitStruct.Mode = GPIO_MODE_OUTPUT_PP;
  GPIO_InitStruct.Pull = GPIO_NOPULL;
  GPIO_InitStruct.Speed = GPIO_SPEED_FREQ_LOW;
  HAL_GPIO_Init(GPIOB, &GPIO_InitStruct);

  /*Configure GPIO pin : PWRGD_Pin */
  GPIO_InitStruct.Pin = PWRGD_Pin;
  GPIO_InitStruct.Mode = GPIO_MODE_INPUT;
  GPIO_InitStruct.Pull = GPIO_NOPULL;
  HAL_GPIO_Init(PWRGD_GPIO_Port, &GPIO_InitStruct);

  /*Configure GPIO pins : LEDCTRL_Pin ETH_ON_Pin LOX_ON_Pin ENG_ON_Pin
                           PD6 */
  GPIO_InitStruct.Pin = LEDCTRL_Pin|ETH_ON_Pin|LOX_ON_Pin|ENG_ON_Pin
                          |GPIO_PIN_6;
  GPIO_InitStruct.Mode = GPIO_MODE_OUTPUT_PP;
  GPIO_InitStruct.Pull = GPIO_NOPULL;
  GPIO_InitStruct.Speed = GPIO_SPEED_FREQ_LOW;
  HAL_GPIO_Init(GPIOD, &GPIO_InitStruct);

  /*Configure GPIO pin : LIFTOFF_Pin */
  GPIO_InitStruct.Pin = LIFTOFF_Pin;
  GPIO_InitStruct.Mode = GPIO_MODE_INPUT;
  GPIO_InitStruct.Pull = GPIO_PULLDOWN;
  HAL_GPIO_Init(LIFTOFF_GPIO_Port, &GPIO_InitStruct);

}

 /* MPU Configuration */

void MPU_Config(void)
{
  MPU_Region_InitTypeDef MPU_InitStruct = {0};

  /* Disables the MPU */
  HAL_MPU_Disable();

  /** Initializes and configures the Region and the memory to be protected
  */
  MPU_InitStruct.Enable = MPU_REGION_ENABLE;
  MPU_InitStruct.Number = MPU_REGION_NUMBER0;
  MPU_InitStruct.BaseAddress = 0x0;
  MPU_InitStruct.Size = MPU_REGION_SIZE_4GB;
  MPU_InitStruct.SubRegionDisable = 0x87;
  MPU_InitStruct.TypeExtField = MPU_TEX_LEVEL0;
  MPU_InitStruct.AccessPermission = MPU_REGION_NO_ACCESS;
  MPU_InitStruct.DisableExec = MPU_INSTRUCTION_ACCESS_DISABLE;
  MPU_InitStruct.IsShareable = MPU_ACCESS_SHAREABLE;
  MPU_InitStruct.IsCacheable = MPU_ACCESS_NOT_CACHEABLE;
  MPU_InitStruct.IsBufferable = MPU_ACCESS_NOT_BUFFERABLE;

  HAL_MPU_ConfigRegion(&MPU_InitStruct);
  /* Enables the MPU */
  HAL_MPU_Enable(MPU_PRIVILEGED_DEFAULT);

}

void Error_Handler(void)
{
  __disable_irq();
  while (1)
  {
  }
}
#ifdef USE_FULL_ASSERT
/**
  * @brief  Reports the name of the source file and the source line number
  *         where the assert_param error has occurred.
  * @param  file: pointer to the source file name
  * @param  line: assert_param error line source number
  * @retval None
  */
void assert_failed(uint8_t *file, uint32_t line)
{
  /* USER CODE BEGIN 6 */
  /* User can add his own implementation to report the file name and line number,
     ex: app_printf("Wrong parameters value: file %s on line %d\r\n", file, line) */
  /* USER CODE END 6 */
}
#endif /* USE_FULL_ASSERT */
